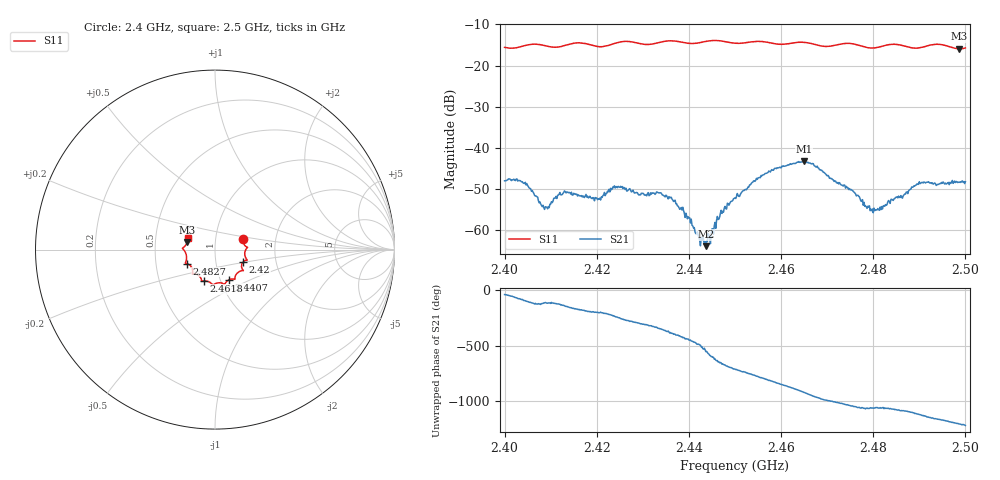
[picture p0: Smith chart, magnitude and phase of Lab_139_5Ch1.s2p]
# Hz S RI R 50
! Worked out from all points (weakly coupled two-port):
!   601 points, 2.4 GHz to 2.5 GHz, reference 50 ohm
!   highest |S21| = -43.26 dB at 2.465 GHz (marker M1); lowest = -64.0 dB at 2.4437 GHz (marker M2)
!   lowest |S11| = -15.9 dB at 2.4987 GHz (marker M3), VSWR 1.38, Z = 36.6 + j3.24 ohm
!   |S11| at or under -10 dB: start of sweep to end of sweep
!   S12 and S22 are empty: the file has one direction only
!   S11 on the Smith chart (normalised r, x): 2.4 GHz: 1.35, +0.17; 2.42 GHz: 1.36, -0.19; 2.4407 GHz: 1.10, -0.38; 2.4618 GHz: 0.83, -0.30; 2.4827 GHz: 0.72, -0.12; 2.5 GHz: 0.73, +0.10
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2.4e9  0.1547 0.0614  0.00309 -0.00247  0 0  0 0
2.404333e9  0.1739 0.0163  -0.000184 -0.00367  0 0  0 0
2.409e9  0.1733 0.00334  -0.000727 -0.00176  0 0  0 0
2.413167e9  0.1704 -0.0443  -0.00233 -0.00173  0 0  0 0
2.416667e9  0.1789 -0.0586  -0.00261 -0.00018  0 0  0 0
2.42e9  0.1564 -0.069  -0.0023 0.000816  0 0  0 0
2.424333e9  0.1535 -0.1109  -0.00163 0.00294  0 0  0 0
2.433333e9  0.1116 -0.1531  0.00271 0.000837  0 0  0 0
2.4365e9  0.1108 -0.1661  0.002 -0.00115  0 0  0 0
2.440667e9  0.0792 -0.1676  -0.000178 -0.00113  0 0  0 0
2.443667e9  0.057 -0.1879  -0.000618 0.00014  0 0  0 0
2.45e9  0.0269 -0.1849  0.00242 0.000402  0 0  0 0
2.456167e9  -0.0141 -0.1945  0.00138 -0.00446  0 0  0 0
2.461833e9  -0.0614 -0.1749  -0.00551 -0.00294  0 0  0 0
2.465e9  -0.0746 -0.1762  -0.00644 0.00239  0 0  0 0
2.466667e9  -0.0758 -0.1681  -0.00425 0.00475  0 0  0 0
2.4795e9  -0.1312 -0.0971  0.00165 0.000677  0 0  0 0
2.482667e9  -0.1582 -0.0778  0.00195 0.000565  0 0  0 0
2.483333e9  -0.1621 -0.0768  0.00218 0.000661  0 0  0 0
2.4905e9  -0.1652 -0.0144  0.00265 -0.00269  0 0  0 0
2.498667e9  -0.1537 0.0431  -0.0021 -0.00314  0 0  0 0
2.5e9  -0.1511 0.0632  -0.00285 -0.0026  0 0  0 0
